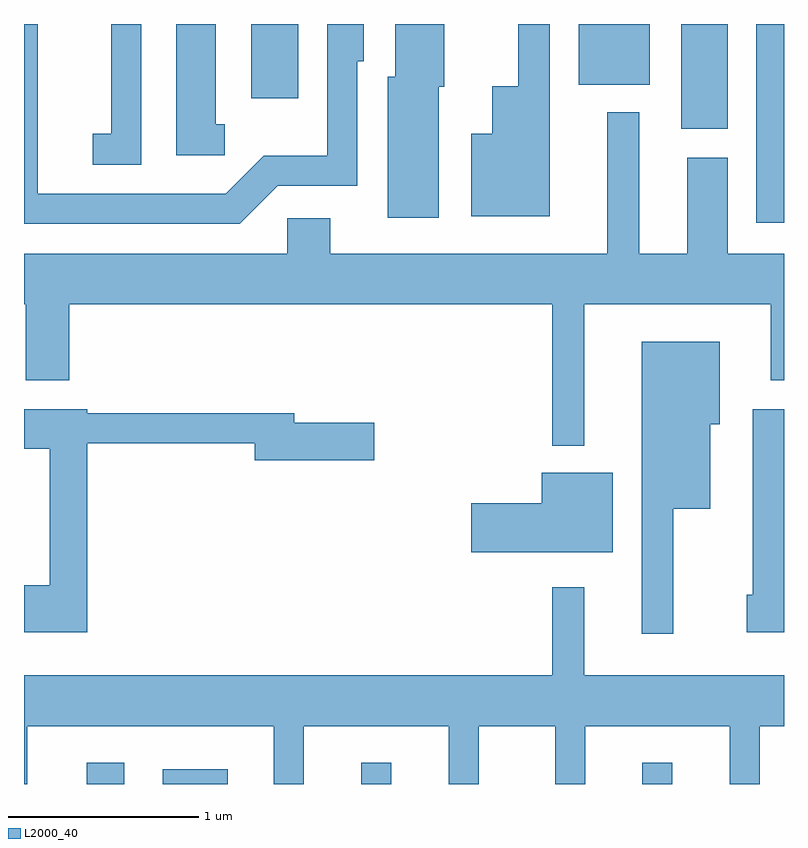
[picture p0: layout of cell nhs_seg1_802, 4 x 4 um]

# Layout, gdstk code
import gdstk
lib = gdstk.Library(unit=1e-6, precision=1e-09)
def R(c, l, rs):  # rectangles x0, y0, x1, y1
    for r in rs: c.add(gdstk.rectangle(r[:2], r[2:], *l))
def P(c, l, *ps):  # polygons
    for p in ps: c.add(gdstk.Polygon(p, *l))
L2000_40 = (2000, 40)

nhs_seg1_802 = lib.new_cell('nhs_seg1_802')
R(nhs_seg1_802, L2000_40, [(209.941,903.712,210.139,903.824), (210.341,903.712,210.684,903.789), (211.386,903.712,211.544,903.823), (212.866,903.712,213.024,903.823), (213.466,906.666,213.611,907.712), (213.071,907.161,213.314,907.712), (210.806,907.321,211.054,907.712), (212.531,907.391,212.904,907.712)])
P(nhs_seg1_802, L2000_40, [(210.668,907.184),(210.619,907.184),(210.619,907.712),(210.411,907.712),(210.411,907.021),(210.668,907.021)],
  [(210.947,906.861),(211.364,906.861),(211.364,907.516),(211.399,907.516),(211.399,907.712),(211.206,907.712),(211.206,907.019),(210.874,907.019),(210.674,906.819),(209.684,906.819),(209.684,907.712),(209.611,907.712),(209.611,906.661),(210.747,906.661)],
  [(210.229,907.712),(210.071,907.712),(210.071,907.134),(209.973,907.134),(209.973,906.971),(210.229,906.971)],
  [(212.379,907.712),(212.211,907.712),(212.211,907.384),(212.076,907.384),(212.076,907.134),(211.966,907.134),(211.966,906.701),(212.379,906.701)],
  [(211.794,907.381),(211.824,907.381),(211.824,907.712),(211.566,907.712),(211.566,907.434),(211.526,907.434),(211.526,906.691),(211.794,906.691)],
  [(212.559,906.236),(213.541,906.236),(213.541,905.836),(213.611,905.836),(213.611,906.504),(213.314,906.504),(213.314,907.009),(213.101,907.009),(213.101,906.504),(212.849,906.504),(212.849,907.248),(212.681,907.248),(212.681,906.504),(211.224,906.504),(211.224,906.689),(210.996,906.689),(210.996,906.504),(209.611,906.504),(209.611,906.236),(209.621,906.236),(209.621,905.836),(209.849,905.836),(209.849,906.236),(212.391,906.236),(212.391,905.493),(212.559,905.493)],
  [(213.029,905.161),(213.224,905.161),(213.224,905.606),(213.274,905.606),(213.274,906.039),(212.861,906.039),(212.861,904.503),(213.029,904.503)],
  [(209.944,905.506),(210.826,905.506),(210.826,905.416),(211.454,905.416),(211.454,905.614),(211.034,905.614),(211.034,905.664),(209.944,905.664),(209.944,905.684),(209.611,905.684),(209.611,905.476),(209.746,905.476),(209.746,904.759),(209.611,904.759),(209.611,904.511),(209.944,904.511)],
  [(213.611,905.684),(213.446,905.684),(213.446,904.709),(213.416,904.709),(213.416,904.511),(213.611,904.511)],
  [(212.709,905.349),(212.336,905.349),(212.336,905.189),(211.966,905.189),(211.966,904.931),(212.709,904.931)],
  [(209.629,904.016),(210.926,904.016),(210.926,903.712),(211.084,903.712),(211.084,904.016),(211.846,904.016),(211.846,903.712),(212.004,903.712),(212.004,904.016),(212.406,904.016),(212.406,903.712),(212.564,903.712),(212.564,904.016),(213.326,904.016),(213.326,903.712),(213.484,903.712),(213.484,904.016),(213.611,904.016),(213.611,904.284),(212.559,904.284),(212.559,904.748),(212.391,904.748),(212.391,904.284),(209.611,904.284),(209.611,903.712),(209.629,903.712)])

lib.write_gds('nhs_seg1_802.gds')
